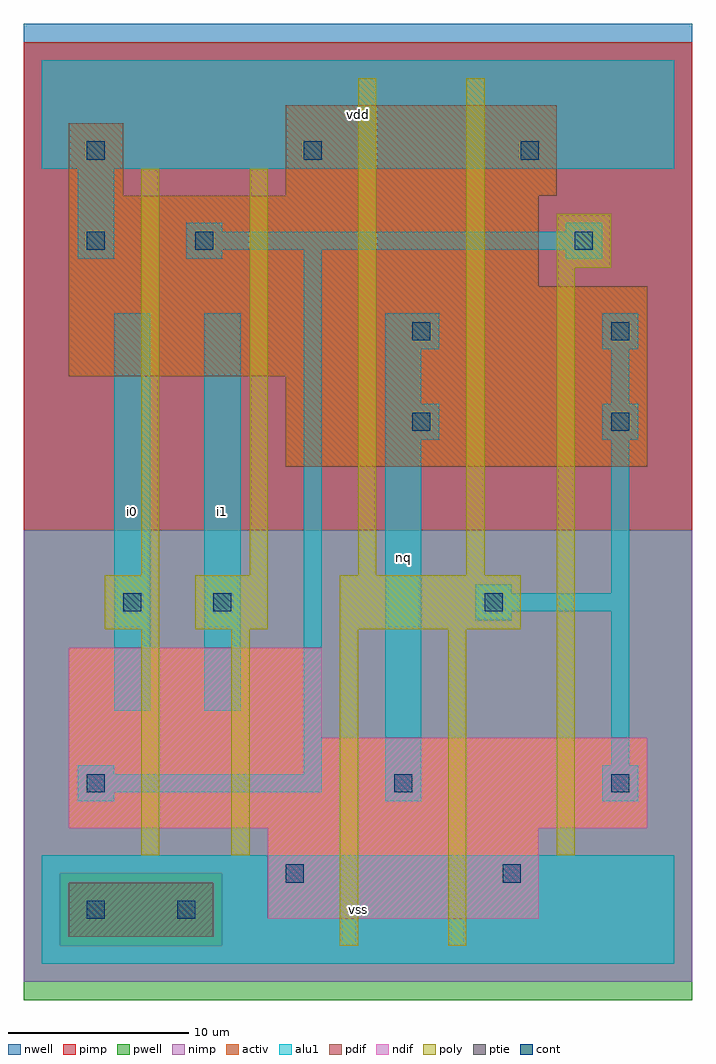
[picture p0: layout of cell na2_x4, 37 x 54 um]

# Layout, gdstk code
import gdstk
lib = gdstk.Library(unit=1e-6, precision=1e-09)
def R(c, l, rs):  # rectangles x0, y0, x1, y1
    for r in rs: c.add(gdstk.rectangle(r[:2], r[2:], *l))
def A(c, l, x, y, w, h, nx, ny, dx, dy):  # array of equal rectangles
    R(c, l, [(x+i*dx, y+j*dy, x+i*dx+w, y+j*dy+h) for i in range(nx) for j in range(ny)])
ndif = (3, 0)
pdif = (4, 0)
ptie = (6, 0)
cont = (25, 0)
pwell = (41, 0)
nwell = (42, 0)
activ = (43, 0)
pimp = (44, 0)
nimp = (45, 0)
poly = (46, 0)
alu1 = (49, 0)

na2_x4 = lib.new_cell('na2_x4')
R(na2_x4, ndif, [(12.5,2.5,27.5,7.5), (1.5,7.5,33.5,12.5), (1.5,12.5,15.5,17.5)])
R(na2_x4, pdif, [(13.5,27.5,33.5,32.5), (1.5,32.5,33.5,37.5), (1.5,37.5,27.5,42.5), (1.5,42.5,4.5,46.5), (13.5,42.5,28.5,47.5)])
R(na2_x4, ptie, [(1.5,1.5,9.5,4.5)])
A(na2_x4, cont, 2.5, 44.5, 1, 1, 3, 1, 12, 0)
R(na2_x4, cont, [(2.5,2.5,3.5,3.5), (7.5,2.5,8.5,3.5), (13.5,4.5,14.5,5.5), (25.5,4.5,26.5,5.5), (2.5,9.5,3.5,10.5), (19.5,9.5,20.5,10.5), (31.5,9.5,32.5,10.5), (4.5,19.5,5.5,20.5), (9.5,19.5,10.5,20.5), (24.5,19.5,25.5,20.5), (20.5,29.5,21.5,30.5), (31.5,29.5,32.5,30.5), (20.5,34.5,21.5,35.5), (31.5,34.5,32.5,35.5), (2.5,39.5,3.5,40.5), (8.5,39.5,9.5,40.5), (29.5,39.5,30.5,40.5)])
R(na2_x4, pwell, [(-1,-2,36,24)])
R(na2_x4, nwell, [(-1,24,36,52)])
R(na2_x4, activ, [(1.5,1.5,9.5,4.5), (12.5,2.5,27.5,7.5), (1.5,7.5,33.5,12.5), (1.5,12.5,15.5,17.5), (13.5,27.5,33.5,32.5), (1.5,32.5,33.5,37.5), (1.5,37.5,27.5,42.5), (1.5,42.5,4.5,46.5), (13.5,42.5,28.5,47.5)])
R(na2_x4, pimp, [(1,1,10,5), (-1,24,36,51)])
R(na2_x4, nimp, [(-1,-1,36,1), (-1,1,1,5), (10,1,36,5), (-1,5,36,24)])
R(na2_x4, poly, [(16.5,1,17.5,18.5), (22.5,1,23.5,18.5), (5.5,6,6.5,18.5), (10.5,6,11.5,18.5), (28.5,6,29.5,38.5), (3.5,18.5,6.5,21.5), (8.5,18.5,12.5,21.5), (16.5,18.5,26.5,21.5), (5.5,21.5,6.5,44), (11.5,21.5,12.5,44), (17.5,21.5,18.5,49), (23.5,21.5,24.5,49), (28.5,38.5,31.5,41.5)])
R(na2_x4, alu1, [(0,0,35,6), (2,9,4,9.5), (19,9,21,29), (31,9,33,11), (2,9.5,15.5,10.5), (2,10.5,4,11), (14.5,10.5,15.5,39.5), (31.5,11,32.5,19.5), (4,14,6,36), (9,14,11,36), (24,19,26,19.5), (24,19.5,32.5,20.5), (24,20.5,26,21), (31.5,20.5,32.5,29), (19,29,22,31), (31,29,33,31), (19,31,21,34), (31.5,31,32.5,34), (19,34,22,36), (31,34,33,36), (2,39,4,44), (8,39,10,39.5), (29,39,31,39.5), (8,39.5,31,40.5), (8,40.5,10,41), (29,40.5,31,41), (0,44,35,50)])
na2_x4.add(gdstk.Label('i0', (5,25), layer=49, texttype=0))
na2_x4.add(gdstk.Label('i1', (10,25), layer=49, texttype=0))
na2_x4.add(gdstk.Label('vss', (17.5,3), layer=49, texttype=0))
na2_x4.add(gdstk.Label('nq', (20,22.5), layer=49, texttype=0))
na2_x4.add(gdstk.Label('vdd', (17.5,47), layer=49, texttype=0))

lib.write_gds('na2_x4.gds')
